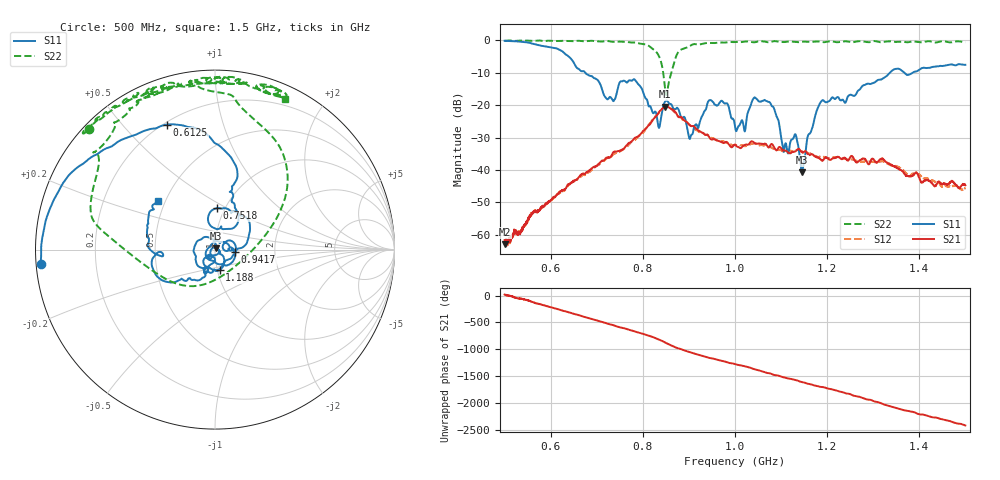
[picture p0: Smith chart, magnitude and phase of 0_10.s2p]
!Agilent Technologies,E8364B,US42250235,A.06.04.32
!Agilent E8364B: A.06.04.32
!Date: Thursday, October 01, 2020 13:23:55
!Correction: S11(Full 2 Port(1,2)) S21(Full 2 Port(1,2)) S12(Full 2 Port(1,2)) S22(Full 2 Port(1,2))
!S2P File: Measurements: S11, S21, S12, S22:
# Hz S  dB  R 50
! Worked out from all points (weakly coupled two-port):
!   2650 points, 500 MHz to 1.5 GHz, reference 50 ohm
!   highest |S21| = -20.51 dB at 848.1 MHz (marker M1); lowest = -62.8 dB at 501.1 MHz (marker M2)
!   lowest |S11| = -40.8 dB at 1.145 GHz (marker M3), VSWR 1.02, Z = 50.5 + j0.778 ohm
!   |S11| at or under -10 dB: 674.8 MHz to 1.336 GHz (661.5 MHz wide, 65.8 % of centre); 1.367 GHz to 1.386 GHz (18.77 MHz wide, 1.36 % of centre)
!   |S22| runs from -16.9 to -0.1 dB; largest |S21 - S12| = 0.012
!   S11 on the Smith chart (normalised r, x): 500 MHz: 0.01, -0.04; 612.5 MHz: 0.21, +0.67; 751.8 MHz: 0.92, +0.45; 941.7 MHz: 1.25, -0.04; 1.188 GHz: 1.03, -0.24; 1.5 GHz: 0.46, +0.30
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5e8  -0.22 -175.1  -61.63 18.4  -62.36 10.0  -0.23 136.2
5.011325e8  -0.23 -175.7  -62.84 10.3  -62.71 12.6  -0.22 135.9
6.124953e8  -2.55 110.9  -47.64 114.4  -47.81 107.9  -0.29 126.3
6.668554e8  -9.58 75.5  -41.37 -20.0  -41.83 -27.1  -0.31 122.0
7.219706e8  -18.14 67.0  -36.21 -157.9  -36.40 -163.0  -0.27 111.8
7.517931e8  -12.73 87.2  -33.95 128.0  -34.17 122.7  -0.46 106.6
7.850132e8  -12.65 33.3  -29.97 46.4  -30.44 42.2  -0.76 96.0
8.337108e8  -26.63 3.0  -22.42 -89.9  -22.63 -98.2  -4.61 46.7
8.480559e8  -18.97 19.2  -20.51 -149.7  -20.56 -156.3  -14.76 -10.2
8.801435e8  -22.57 -86.2  -23.72 93.8  -23.68 85.5  -3.20 166.9
9.035485e8  -29.76 142.1  -26.37 26.5  -26.39 19.3  -1.68 141.7
9.416761e8  -18.92 -7.8  -29.36 -70.5  -29.28 -71.3  -0.88 128.5
9.816912e8  -19.46 -117.0  -31.34 -155.4  -31.56 -160.4  -0.72 117.8
1.000189e9  -26.71 -140.6  -32.28 167.3  -32.25 162.6  -0.60 117.7
1.072291e9  -19.03 164.5  -33.05 0.2  -32.68 -4.5  -0.67 108.9
1.105134e9  -34.06 86.3  -34.00 -75.7  -34.27 -75.3  -0.61 103.6
1.132314e9  -29.39 -138.8  -34.14 -128.2  -33.92 -133.6  -0.55 102.3
1.145149e9  -40.77 57.3  -34.51 -164.3  -34.17 -167.0  -0.51 97.4
1.166667e9  -27.45 -38.0  -35.11 147.7  -35.18 141.3  -0.55 97.0
1.188184e9  -18.65 -76.9  -37.04 102.6  -35.71 98.5  -0.59 98.0
1.333522e9  -10.40 -142.6  -37.98 114.1  -38.19 124.6  -0.37 81.5
1.5e9  -7.61 139.8  -44.71 110.3  -45.61 132.4  -0.67 65.0
